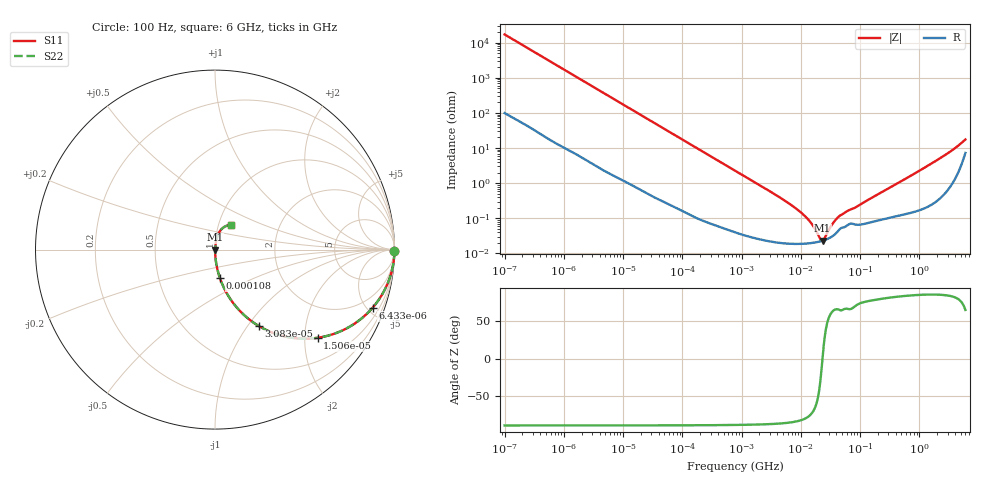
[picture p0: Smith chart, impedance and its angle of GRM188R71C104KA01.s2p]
!Murata Part Number: GRM188R71C104KA01
!These Parameters are Measured in Series Mode Connection
!Data Generated on Mar 30, 2021
!  o--ll--o
!Port1  Port2
!  o------o
!Operation Temp=25[degC], DC Bias Voltage=0[V]
!Freq. Start=100[Hz] Stop=6[GHz] 401[Steps]
# Hz S RI R 50
!Freq.(Hz) S11(Real) S11(Imag) S21(Real) S21(Imag) S12(Real) S12(Imag) S22(Real) S22(Imag)
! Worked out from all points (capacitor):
!   401 points, 100 Hz to 6 GHz, reference 50 ohm
!   read as one part in series: C = 93 nF near 109 Hz
!   lowest |Z| = 23.1 mohm at 23.28 MHz (marker M1)
!   series resonance near 23.22 MHz, so ESL is about 510 pH
!   S11 on the Smith chart (normalised r, x): 100 Hz: open; 6.433 kHz: 1.03, -5.40; 15.06 kHz: 1.02, -2.31; 30.83 kHz: 1.01, -1.13; 108 kHz: 1.00, -0.33; 6 GHz: 1.15, +0.32
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100  0.9999 -0.00585  6.82e-05 0.00585  6.82e-05 0.00585  0.9999 -0.00585
627  0.9985 -0.0364  0.00154 0.0364  0.00154 0.0364  0.9985 -0.0364
2008  0.986 -0.1145  0.014 0.1145  0.014 0.1145  0.986 -0.1145
6433  0.8776 -0.3245  0.1224 0.3245  0.1224 0.3245  0.8776 -0.3245
9626  0.7639 -0.4213  0.2361 0.4213  0.2361 0.4213  0.7639 -0.4213
15062  0.5718 -0.4913  0.4282 0.4913  0.4282 0.4913  0.5718 -0.4913
30832  0.2448 -0.4262  0.7552 0.4262  0.7552 0.4262  0.2448 -0.4262
40335  0.1603 -0.363  0.8397 0.363  0.8397 0.363  0.1603 -0.363
108014  0.0272 -0.1581  0.9728 0.1581  0.9728 0.1581  0.0272 -0.1581
252896  0.00562 -0.0694  0.9944 0.0694  0.9944 0.0694  0.00562 -0.0694
774597  0.000925 -0.0229  0.9991 0.0229  0.9991 0.0229  0.000925 -0.0229
6948629  0.000194 -0.00236  0.9998 0.00236  0.9998 0.00236  0.000194 -0.00236
1.137099e7  0.000191 -0.0012  0.9998 0.0012  0.9998 0.0012  0.000191 -0.0012
1.555665e7  0.0002 -0.000638  0.9998 0.000638  0.9998 0.000638  0.0002 -0.000638
2.128304e7  0.000221 -0.000135  0.9998 0.000135  0.9998 0.000135  0.000221 -0.000135
2.327686e7  0.000231 4e-06  0.9998 -4e-06  0.9998 -4e-06  0.000231 4e-06
2.545746e7  0.000243 0.000143  0.9998 -0.000143  0.9998 -0.000143  0.000243 0.000143
3.482834e7  0.000316 0.000649  0.9997 -0.000649  0.9997 -0.000649  0.000316 0.000649
4.556224e7  0.000497 0.00108  0.9995 -0.00108  0.9995 -0.00108  0.000497 0.00108
3.124326e8  0.00108 0.00724  0.9989 -0.00724  0.9989 -0.00724  0.00108 0.00724
3.065283e9  0.0115 0.0706  0.9885 -0.0706  0.9885 -0.0706  0.0115 0.0706
6e9  0.088 0.1357  0.912 -0.1357  0.912 -0.1357  0.088 0.1357
